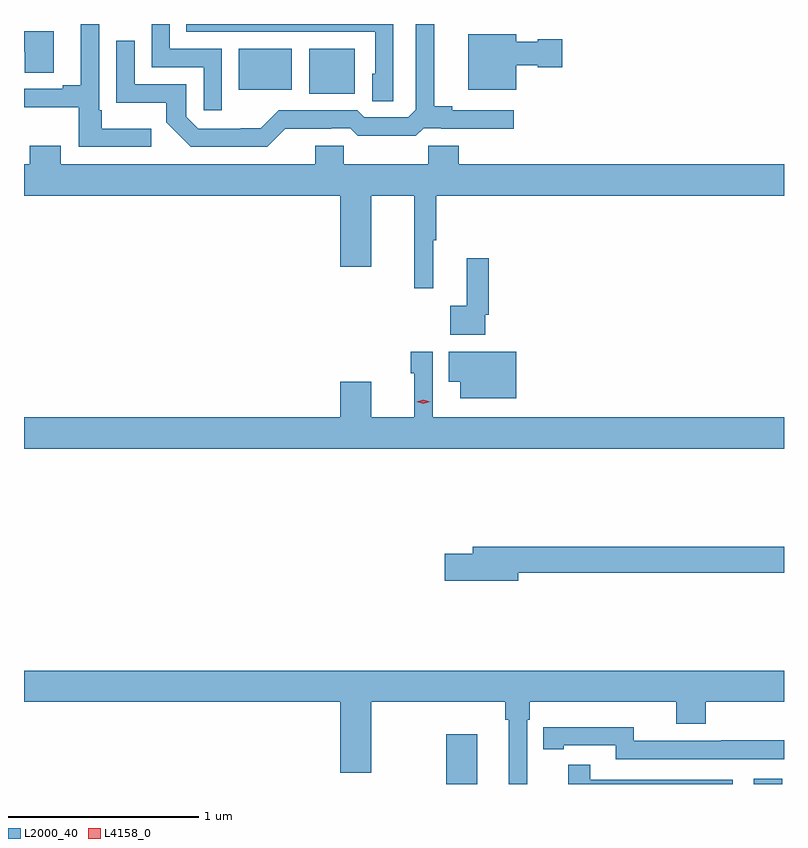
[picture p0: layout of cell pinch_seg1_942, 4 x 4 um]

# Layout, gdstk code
import gdstk
lib = gdstk.Library(unit=1e-6, precision=1e-09)
def R(c, l, rs):  # rectangles x0, y0, x1, y1
    for r in rs: c.add(gdstk.rectangle(r[:2], r[2:], *l))
def P(c, l, *ps):  # polygons
    for p in ps: c.add(gdstk.Polygon(p, *l))
L2000_40 = (2000, 40)
L4158_0 = (4158, 0)

pinch_seg1_942 = lib.new_cell('pinch_seg1_942')
R(pinch_seg1_942, L2000_40, [(225.506,506.011,225.67,506.272), (227.124,506.011,227.274,506.038), (224.786,509.645,225.025,509.881), (224.414,509.666,224.692,509.881)])
P(pinch_seg1_942, L2000_40, [(223.954,509.461),(223.693,509.461),(223.693,509.557),(223.68,509.557),(223.68,510.011),(223.583,510.011),(223.583,509.689),(223.487,509.689),(223.487,509.67),(223.284,509.67),(223.284,509.573),(223.572,509.573),(223.572,509.364),(223.954,509.364)],
  [(224.66,509.459),(224.9,509.459),(224.9,509.463),(225,509.463),(225.04,509.424),(225.347,509.424),(225.387,509.463),(225.481,509.463),(225.481,509.459),(225.862,509.459),(225.862,509.556),(225.538,509.556),(225.538,509.579),(225.443,509.579),(225.443,510.011),(225.345,510.011),(225.345,509.559),(225.306,509.52),(225.075,509.52),(225.039,509.556),(224.625,509.556),(224.531,509.462),(224.426,509.462),(224.426,509.46),(224.202,509.46),(224.139,509.523),(224.139,509.694),(223.866,509.694),(223.866,509.923),(223.77,509.923),(223.77,509.597),(224.032,509.597),(224.032,509.495),(224.162,509.364),(224.565,509.364)],
  [(225.228,510.011),(224.137,510.011),(224.137,509.97),(225.132,509.97),(225.132,509.748),(225.116,509.748),(225.116,509.605),(225.228,509.605)],
  [(224.325,509.88),(224.052,509.88),(224.052,510.011),(223.956,510.011),(223.956,509.784),(224.229,509.784),(224.229,509.556),(224.325,509.556)],
  [(223.441,509.974),(223.284,509.974),(223.284,509.864),(223.289,509.864),(223.289,509.755),(223.441,509.755)],
  [(225.874,509.795),(225.987,509.795),(225.987,509.783),(226.117,509.783),(226.117,509.93),(225.987,509.93),(225.987,509.917),(225.874,509.917),(225.874,509.956),(225.623,509.956),(225.623,509.666),(225.874,509.666)],
  [(225.437,508.872),(225.455,508.872),(225.455,509.108),(227.284,509.108),(227.284,509.272),(225.572,509.272),(225.572,509.37),(225.412,509.37),(225.412,509.272),(224.967,509.272),(224.967,509.37),(224.816,509.37),(224.816,509.272),(223.477,509.272),(223.477,509.371),(223.313,509.371),(223.313,509.272),(223.284,509.272),(223.284,509.108),(224.948,509.108),(224.948,508.734),(225.112,508.734),(225.112,509.108),(225.337,509.108),(225.337,508.62),(225.437,508.62)],
  [(225.711,508.48),(225.731,508.48),(225.731,508.777),(225.614,508.777),(225.614,508.529),(225.528,508.529),(225.528,508.376),(225.711,508.376)],
  [(227.284,507.94),(225.435,507.94),(225.435,508.285),(225.319,508.285),(225.319,508.172),(225.337,508.172),(225.337,507.94),(225.112,507.94),(225.112,508.129),(224.948,508.129),(224.948,507.94),(223.284,507.94),(223.284,507.776),(227.284,507.776)],
  [(225.874,508.285),(225.52,508.285),(225.52,508.127),(225.581,508.127),(225.581,508.04),(225.874,508.04)],
  [(225.886,507.124),(227.284,507.124),(227.284,507.26),(225.647,507.26),(225.647,507.224),(225.498,507.224),(225.498,507.082),(225.886,507.082)],
  [(225.933,506.348),(225.947,506.348),(225.947,506.444),(226.718,506.444),(226.718,506.327),(226.871,506.327),(226.871,506.444),(227.284,506.444),(227.284,506.608),(223.284,506.608),(223.284,506.444),(224.948,506.444),(224.948,506.07),(225.112,506.07),(225.112,506.444),(225.817,506.444),(225.817,506.348),(225.836,506.348),(225.836,506.011),(225.933,506.011)],
  [(227.284,506.24),(226.954,506.24),(226.954,506.238),(226.494,506.238),(226.494,506.311),(226.126,506.311),(226.126,506.31),(226.018,506.31),(226.018,506.194),(226.126,506.194),(226.126,506.214),(226.398,506.214),(226.398,506.142),(227.284,506.142)],
  [(227.014,506.034),(226.265,506.034),(226.265,506.113),(226.148,506.113),(226.148,506.011),(227.014,506.011)])
P(pinch_seg1_942, L4158_0, [(225.386,508.013),(225.351,508.023),(225.351,508.023),(225.351,508.024),(225.386,508.033),(225.421,508.022),(225.421,508.022),(225.421,508.022)])

lib.write_gds('pinch_seg1_942.gds')
